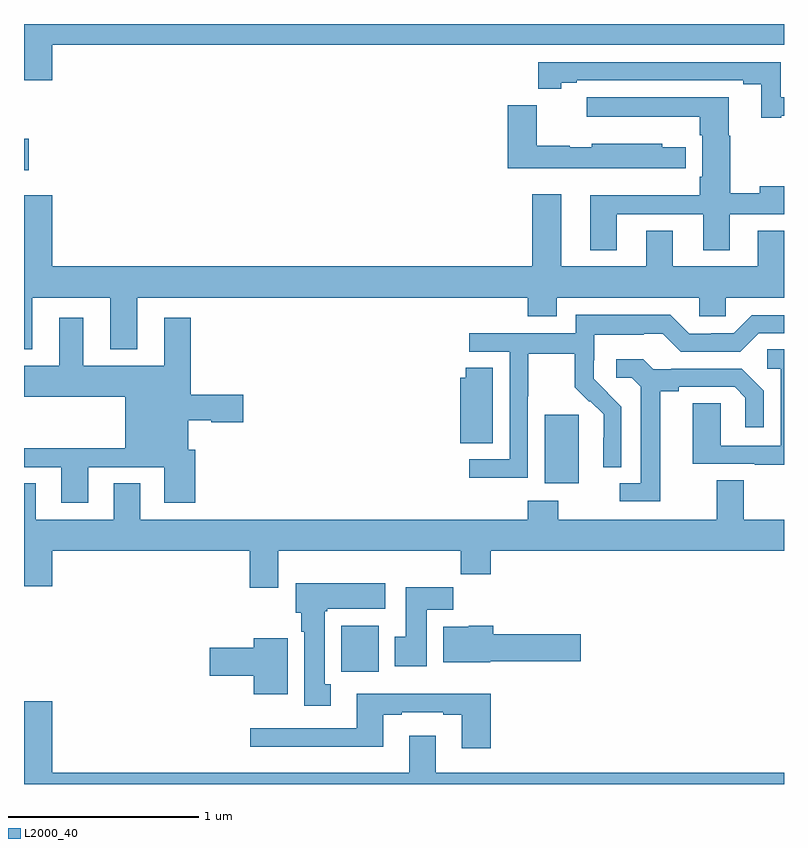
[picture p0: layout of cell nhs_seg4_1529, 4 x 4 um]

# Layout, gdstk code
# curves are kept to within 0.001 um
import gdstk
lib = gdstk.Library(unit=1e-6, precision=1e-09)
def R(c, l, rs):  # rectangles x0, y0, x1, y1
    for r in rs: c.add(gdstk.rectangle(r[:2], r[2:], *l))
def P(c, l, *ps):  # polygons
    for p in ps: c.add(gdstk.Polygon(p, *l))
L2000_40 = (2000, 40)

nhs_seg4_1529 = lib.new_cell('nhs_seg4_1529')
R(nhs_seg4_1529, L2000_40, [(190.67,821.492,190.867,821.734), (191.741,822.482,191.92,822.843), (189,824.129,189.025,824.295)])
P(nhs_seg4_1529, L2000_40, [(189.148,824.792),(193,824.792),(193,824.9),(189,824.9),(189,824.604),(189.148,824.604)],
  [(192.985,824.417),(193,824.417),(193,824.514),(192.982,824.514),(192.982,824.7),(191.706,824.7),(191.706,824.558),(191.827,824.558),(191.827,824.592),(191.908,824.592),(191.908,824.604),(192.785,824.604),(192.785,824.584),(192.881,824.584),(192.881,824.406),(192.985,824.406)],
  [(192.121,823.898),(192.575,823.898),(192.575,823.71),(192.715,823.71),(192.715,823.898),(193,823.898),(193,824.047),(192.872,824.047),(192.872,824.009),(192.717,824.009),(192.717,824.311),(192.709,824.311),(192.709,824.515),(191.961,824.515),(191.961,824.411),(192.557,824.411),(192.557,824.315),(192.569,824.315),(192.569,824.095),(192.557,824.095),(192.557,823.999),(191.981,823.999),(191.981,823.71),(192.121,823.71)],
  [(192.484,824.251),(192.36,824.251),(192.36,824.269),(191.988,824.269),(191.988,824.251),(191.873,824.251),(191.873,824.259),(191.698,824.259),(191.698,824.473),(191.546,824.473),(191.546,824.141),(192.484,824.141)],
  [(189.043,823.46),(189.455,823.46),(189.455,823.187),(189.595,823.187),(189.595,823.46),(191.651,823.46),(191.651,823.361),(191.803,823.361),(191.803,823.46),(192.555,823.46),(192.555,823.362),(192.693,823.362),(192.693,823.46),(193,823.46),(193,823.813),(192.863,823.813),(192.863,823.624),(192.415,823.624),(192.415,823.813),(192.275,823.813),(192.275,823.624),(191.827,823.624),(191.827,824.005),(191.675,824.005),(191.675,823.624),(189.148,823.624),(189.148,823.999),(189,823.999),(189,823.187),(189.043,823.187)],
  [(191.652,822.94),(191.655,822.94),(191.655,823.164),(191.899,823.164),(191.899,822.989),(191.976,822.912),(191.979,822.915),(192.05,822.845),(192.05,822.722),(192.048,822.722),(192.048,822.568),(192.144,822.568),(192.144,822.886),(191.998,823.034),(191.998,823.131),(192,823.131),(192,823.265),(192.263,823.265),(192.263,823.269),(192.363,823.269),(192.456,823.176),(192.771,823.176),(192.867,823.272),(193,823.272),(193,823.368),(192.831,823.368),(192.735,823.272),(192.617,823.272),(192.617,823.269),(192.501,823.269),(192.401,823.369),(191.904,823.369),(191.904,823.272),(191.343,823.272),(191.343,823.176),(191.556,823.176),(191.556,822.609),(191.343,822.609),(191.343,822.511),(191.652,822.511)],
  [(189.337,822.567),(189.737,822.567),(189.737,822.381),(189.902,822.381),(189.902,822.66),(189.865,822.66),(189.865,822.815),(189.985,822.815),(189.985,822.803),(190.153,822.803),(190.153,822.95),(189.878,822.95),(189.878,823.354),(189.737,823.354),(189.737,823.102),(189.313,823.102),(189.313,823.354),(189.185,823.354),(189.185,823.102),(189,823.102),(189,822.938),(189.533,822.938),(189.533,822.668),(189,822.668),(189,822.567),(189.197,822.567),(189.197,822.381),(189.337,822.381)],
  [(193,823.187),(192.912,823.187),(192.912,823.086),(192.984,823.086),(192.984,822.681),(192.666,822.681),(192.666,822.905),(192.521,822.905),(192.521,822.585),(192.845,822.585),(192.845,822.581),(193,822.581)],
  [(192.349,822.968),(192.445,822.968),(192.445,822.99),(192.74,822.99),(192.797,822.933),(192.797,822.777),(192.894,822.777),(192.894,822.97),(192.778,823.086),(192.406,823.086),(192.406,823.083),(192.312,823.083),(192.26,823.135),(192.117,823.135),(192.117,823.038),(192.198,823.038),(192.245,822.991),(192.245,822.483),(192.135,822.483),(192.135,822.387),(192.349,822.387)],
  [(191.467,823.091),(191.324,823.091),(191.324,823.038),(191.297,823.038),(191.297,822.694),(191.467,822.694)],
  [(190.339,822.128),(191.299,822.128),(191.299,822.004),(191.456,822.004),(191.456,822.128),(193,822.128),(193,822.292),(192.787,822.292),(192.787,822.5),(192.647,822.5),(192.647,822.292),(191.811,822.292),(191.811,822.391),(191.651,822.391),(191.651,822.292),(189.613,822.292),(189.613,822.482),(189.473,822.482),(189.473,822.292),(189.061,822.292),(189.061,822.482),(189,822.482),(189,821.94),(189.148,821.94),(189.148,822.128),(190.187,822.128),(190.187,821.934),(190.339,821.934)],
  [(190.615,821.426),(190.582,821.426),(190.582,821.809),(190.596,821.809),(190.596,821.822),(190.9,821.822),(190.9,821.956),(190.43,821.956),(190.43,821.802),(190.46,821.802),(190.46,821.702),(190.475,821.702),(190.475,821.313),(190.615,821.313)],
  [(191.119,821.816),(191.258,821.816),(191.258,821.935),(191.009,821.935),(191.009,821.676),(190.952,821.676),(190.952,821.52),(191.119,821.52)],
  [(191.454,821.546),(191.929,821.546),(191.929,821.688),(191.471,821.688),(191.471,821.734),(191.34,821.734),(191.34,821.728),(191.207,821.728),(191.207,821.54),(191.454,821.54)],
  [(190.387,821.668),(190.208,821.668),(190.208,821.618),(189.978,821.618),(189.978,821.471),(190.208,821.471),(190.208,821.372),(190.387,821.372)],
  [(191.456,821.374),(190.751,821.374),(190.751,821.193),(190.191,821.193),(190.191,821.096),(190.891,821.096),(190.891,821.265),(190.987,821.265),(190.987,821.277),(191.207,821.277),(191.207,821.265),(191.303,821.265),(191.303,821.088),(191.456,821.088)],
  [(193,820.96),(191.167,820.96),(191.167,821.155),(191.027,821.155),(191.027,820.96),(189.148,820.96),(189.148,821.335),(189,821.335),(189,820.9),(193,820.9)])

lib.write_gds('nhs_seg4_1529.gds')
